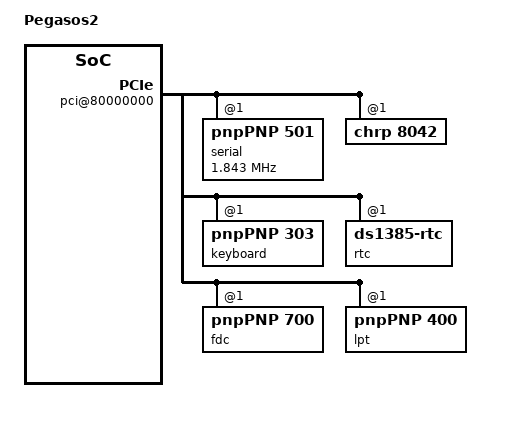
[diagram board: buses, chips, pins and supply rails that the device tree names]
/*
 * QEMU Pegasos2 Device Tree Source
 *
 * Copyright 2025 BALATON Zoltan
 * SPDX-License-Identifier: GPL-2.0-or-later
 *
 * This is partial source, more info will be filled in by board code.
 */

/dts-v1/;

/ {
	#address-cells = <1>;
	device_type = "chrp";
	model = "Pegasos2";
	revision = "2B";
	CODEGEN,vendor = "bplan GmbH";
	CODEGEN,board = "Pegasos2";
	CODEGEN,description = "Pegasos CHRP PowerPC System";

	openprom {
		model = "Pegasos2,1.1";
	};

	chosen {
	};

	memory@0 {
		device_type = "memory";
		reg = <0 0>;
	};

	cpus {
		#size-cells	= <0>;
		#address-cells	= <1>;
		#cpus		= <1>;
	};

	rtas {
		rtas-version		= <1>;
		rtas-size		= <20>;
		rtas-display-device	= <0>;
		rtas-event-scan-rate	= <0>;
		rtas-error-log-max	= <0>;
		restart-rtas		= <0>;
		nvram-fetch		= <1>;
		nvram-store		= <2>;
		get-time-of-day		= <3>;
		set-time-of-day		= <4>;
		event-scan		= <6>;
		/* Pegasos2 firmware misspells check-exception */
		check-execption		= <7>;
		read-pci-config		= <8>;
		write-pci-config	= <9>;
		display-character	= <10>;
		set-indicator		= <11>;
		power-off		= <17>;
		suspend			= <18>;
		hibernate		= <19>;
		system-reboot		= <20>;
	};

	failsafe {
		device_type = "serial";
	};

	pci@80000000 {
		device_type		= "pci";
		#address-cells		= <3>;
		#size-cells		= <2>;
		clock-frequency		= <33333333>;
		ranges = <0x01000000 0 0x00000000 0xfe000000 0 0x00010000
			  0x02000000 0 0x80000000 0x80000000 0 0x40000000>;
		8259-interrupt-acknowledge = <0xf1000cb4>;
		reg = <0x80000000 0x40000000>;
		pci-bridge-number	= <0>;
		bus-range		= <0 0>;

		isa@c {
			vendor-id	= <0x1106>;
			device-id	= <0x8231>;
			revision-id	= <0x10>;
			class-code	= <0x60100>;
			/* Pegasos firmware has subsystem-id and
			   subsystem-vendor-id swapped */
			subsystem-id	= <0x1af4>;
			subsystem-vendor-id = <0x1100>;
			reg = <0x6000 0 0 0 0>;
			device_type	= "isa";
			#address-cells	= <2>;
			#size-cells	= <1>;
			eisa-slots	= <0>;
			clock-frequency	= <8333333>;
			slot-names	= <0>;

			serial@i2f8 {
				device_type	= "serial";
				reg		= <1 0x2f8 8>;
				interrupts	= <3 0>;
				clock-frequency	= <1843200>;
				compatible	= "pnpPNP,501";
			};

			8042@i60 {
				device_type	= "";
				reg		= <1 0x60 5>;
				clock-frequency	= <0>;
				compatible	= "chrp,8042";
				interrupt-controller = "";
				#address-cells	= <1>;
				#size-cells	= <0>;
				#interrupt-cells = <2>;

			};

			keyboard@i60 {
				device_type	= "keyboard";
				reg		= <1 0x60 5>;
				interrupts	= <1 0>;
				compatible	= "pnpPNP,303";
			};

			rtc@i70 {
				device_type	= "rtc";
				reg		= <1 0x70 2>;
				interrupts	= <8 0>;
				clock-frequency	= <0>;
				compatible	= "ds1385-rtc";
			};

			timer@i40 {
				device_type	= "timer";
				reg		= <1 0x40 8>;
				clock-frequency	= <0>;
				compatible	= "pnpPNP,100";
			};

			fdc@i3f0 {
				device_type	= "fdc";
				reg		= <1 0x3f0 8>;
				interrupts	= <6 0>;
				clock-frequency	= <0>;
				compatible	= "pnpPNP,700";
			};

			lpt@i3bc {
				device_type	= "lpt";
				reg		= <1 0x3bc 8>;
				interrupts	= <7 0>;
				clock-frequency	= <0>;
				compatible	= "pnpPNP,400";
			};
		};
	};

	pci@c0000000 {
		device_type		= "pci";
		#address-cells		= <3>;
		#size-cells		= <2>;
		clock-frequency		= <66666666>;
		ranges = <0x01000000 0 0x00000000 0xf8000000 0 0x00010000
			  0x02000000 0 0xc0000000 0xc0000000 0 0x20000000>;
		reg = <0xc0000000 0x20000000>;
		pci-bridge-number	= <1>;
		bus-range		= <0 0>;
	};
};
